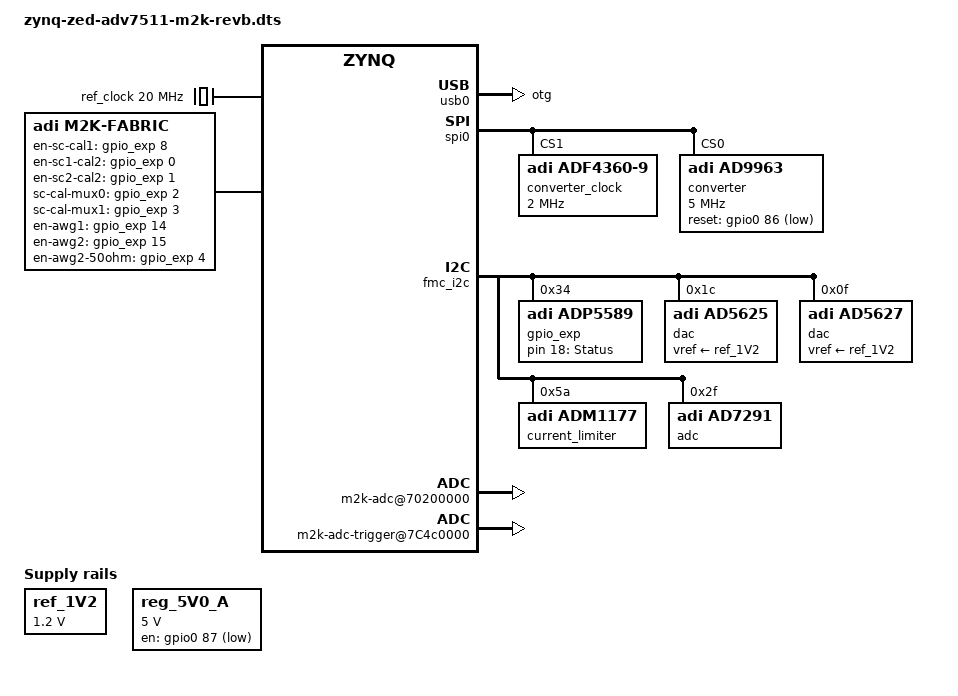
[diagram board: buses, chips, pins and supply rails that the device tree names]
/dts-v1/;

#include "zynq-zed.dtsi"
#include "zynq-zed-adv7511.dtsi"

&usb0 {
	dr_mode = "otg";
};

/ {
	ref_clock: ref-clock {
		#clock-cells = <0>;
		compatible = "fixed-clock";
		clock-frequency = <20000000>;
		clock-output-names = "refclk";
	};

	m2k-fabric {
		compatible = "adi,m2k-fabric";
		adi,revb;

		en-sc-cal1-gpio = <&gpio_exp 8 0>;
		en-sc1-cal2-gpio = <&gpio_exp 0 0>;
		en-sc2-cal2-gpio = <&gpio_exp 1 0>;

		sc-cal-mux0-gpio = <&gpio_exp 2 0>;
		sc-cal-mux1-gpio = <&gpio_exp 3 0>;

		en-awg1-gpio = <&gpio_exp 14 0>;
		en-awg2-gpio = <&gpio_exp 15 0>;
		en-awg2-50ohm-gpio = <&gpio_exp 4 0>;
		en-awg1-50ohm-gpio = <&gpio_exp 5 0>;

		en-usr-pow-gpio = <&gpio_exp 6 0>;

		en-sc1-lg-gpio = <&gpio_exp 10 0>;
		en-sc1-hg-gpio = <&gpio_exp 11 0>;
		en-sc2-lg-gpio = <&gpio_exp 12 0>;
		en-sc2-hg-gpio = <&gpio_exp 13 0>;

	};

	ref_1V2: regulator@0 {
		compatible = "regulator-fixed";

		regulator-name = "REF_1V2";
		regulator-min-microvolt = <1200000>;
		regulator-max-microvolt = <1200000>;
	};

	reg_5V0_A: regulator@1 {
		compatible = "regulator-fixed";

		regulator-name = "5V0_A";
		regulator-min-microvolt = <5000000>;
		regulator-max-microvolt = <5000000>;

		gpio = <&gpio0 87 0>;
		enabale-active-high;

		regulator-boot-on;
		regulator-always-on;
	};

	leds {
		compatible = "gpio-leds";
		status {
			label = "Status";
			gpios = <&gpio_exp 18 0>;
			linux,default-trigger = "heartbeat";
		};
	};
};

&spi0 {
	status = "okay";

	converter_clock: pll@0 {
		compatible = "adi,adf4360-9";
		reg = <1>;
		spi-max-frequency = <2000000>;

		#clock-cells = <0>;

		clocks = <&ref_clock>;
		clock-names = "clkin";
		clock-output-names = "ADF4360-9";

		adi,loop-filter-charge-pump-current-microamp = <1870>;
		adi,loop-filter-pfd-frequency-hz = <5000000>;
	};

	converter@1 {
		compatible = "adi,ad9963";
		reg = <0>;
		spi-max-frequency = <5000000>;

		reset-gpio = <&gpio0 86 1>;

		clocks = <&converter_clock>;
		clock-names = "clk";
	};
};

&fpga_axi {
	fmc_i2c: i2c@41620000 {
		compatible = "xlnx,axi-iic-1.01.b", "xlnx,xps-iic-2.00.a";
		interrupt-parent = <&intc>;
		interrupts = <0 55 IRQ_TYPE_LEVEL_HIGH>;
		reg = <0x41620000 0x10000>;

		#size-cells = <0>;
		#address-cells = <1>;

		gpio_exp: gpio@34 {
			compatible = "adi,adp5589";
			reg = <0x34>;

			#gpio-cells = <2>;
			gpio-controller;
		};

		dac@1c {
			compatible = "adi,ad5625";
			reg = <0x1c>;

			vref-supply = <&ref_1V2>;
		};

		dac@0f {
			compatible = "adi,ad5627";
			reg = <0x0f>;

			vref-supply = <&ref_1V2>;
		};

		current_limiter@5a {
			compatible = "adi,adm1177";
			reg = <0x5a>;
			adi,r-sense-mohm = <100>; /* 100 mOhm */
			adi,shutdown-threshold-ma = <1059>; /* 1.059 A */
			adi,vrange-high-enable;
		};

		adc@2f {
			compatible = "adi,ad7291";
			reg = <0x2f>;
		};
	};

	rx_dma0: dma@7c440000 {
		compatible = "adi,axi-dmac-1.00.a";
		reg = <0x7c440000 0x10000>;
		#dma-cells = <1>;
		interrupts = <0 54 IRQ_TYPE_LEVEL_HIGH>;
		clocks = <&clkc 15>;

		dma-channel {
			adi,source-bus-width = <32>;
			adi,destination-bus-width = <64>;
			adi,type = <0>;
		};
	};
/*
	rx_dma1: dma@7c440000 {
		compatible = "adi,axi-dmac-1.00.a";
		reg = <0x7c460000 0x10000>;
		#dma-cells = <1>;
		interrupts = <0 36 IRQ_TYPE_LEVEL_HIGH>;
		clocks = <&clkc 15>;

		dma-channel {
			adi,buswidth = <64>;
			adi,type = <0>;
		};
	};
*/
	tx_dma: dma@7c480000 {
		compatible = "adi,axi-dmac-1.00.a";
		reg = <0x7c480000 0x10000>;
		#dma-cells = <1>;
		interrupts = <0 52 IRQ_TYPE_LEVEL_HIGH>;
		clocks = <&clkc 15>;

		dma-channel {
			adi,source-bus-width = <64>;
			adi,destination-bus-width = <32>;
			adi,type = <1>;
			adi,cyclic;
		};
	};

	m2k-adc@70200000 {
		compatible = "adi,m2k-adc-1.00.a";
		reg = <0x70200000 0x10000>, <0x7c500000 0x10000>;
		clocks = <&converter_clock>;
		dmas = <&rx_dma0 0>;
		dma-names = "rx";
	};

	m2k-dac@70204000 {
		compatible = "adi,axi-ad9963-dds-1.00.a";
		reg = <0x70204000 0x10000>, <0x7c5a0000 0x10000>;
		clocks = <&converter_clock>;
		clock-names = "sampl_clk";
		dmas = <&tx_dma 0>;
		dma-names = "tx";

		adi,axi-dds-default-scale = <0x800>;
		adi,axi-dds-default-frequency = <1000000>;
	};

	logic_analyzer_clkgen: clock@7000000 {
		compatible = "adi,axi-clkgen-2.00.a";
		reg = <0x70000000 0x10000>;
		clocks = <&clkc 15>, <&clkc 16>;
		clock-names = "s_axi_aclk", "clkin1";

		#clock-cells = <0>;
	};

	logic_analyzer_rx_dma: dma@7c400000 {
		compatible = "adi,axi-dmac-1.00.a";
		reg = <0x7c400000 0x10000>;

		#dma-cells = <1>;
		interrupts = <0 57 IRQ_TYPE_LEVEL_HIGH>;
		clocks = <&clkc 15>;

		dma-channel {
			adi,source-bus-width = <16>;
			adi,destination-bus-width = <64>;
			adi,type = <0>;
		};
	};

	logic_analyzer_tx_dma: dma@7c420000 {
		compatible = "adi,axi-dmac-1.00.a";
		reg = <0x7c420000 0x10000>;

		#dma-cells = <1>;
		interrupts = <0 56 IRQ_TYPE_LEVEL_HIGH>;
		clocks = <&clkc 15>;

		dma-channel {
			adi,source-bus-width = <64>;
			adi,destination-bus-width = <16>;
			adi,type = <1>;
			adi,cyclic;
		};
	};

	logic_analyzer@7010000 {
		compatible = "adi,m2k-logic-analyzer";
		reg = <0x70100000 0x10000>;

		clocks = <&logic_analyzer_clkgen 0>;

		dmas = <&logic_analyzer_tx_dma 0>, <&logic_analyzer_rx_dma 0>;
		dma-names = "tx", "rx";
	};

	m2k-adc-trigger@7C4c0000 {
		compatible = "adi,axi-adc-trigger";
		reg = <0x7C4c0000 0x10000>;
		clocks = <&converter_clock>;
	};

};

